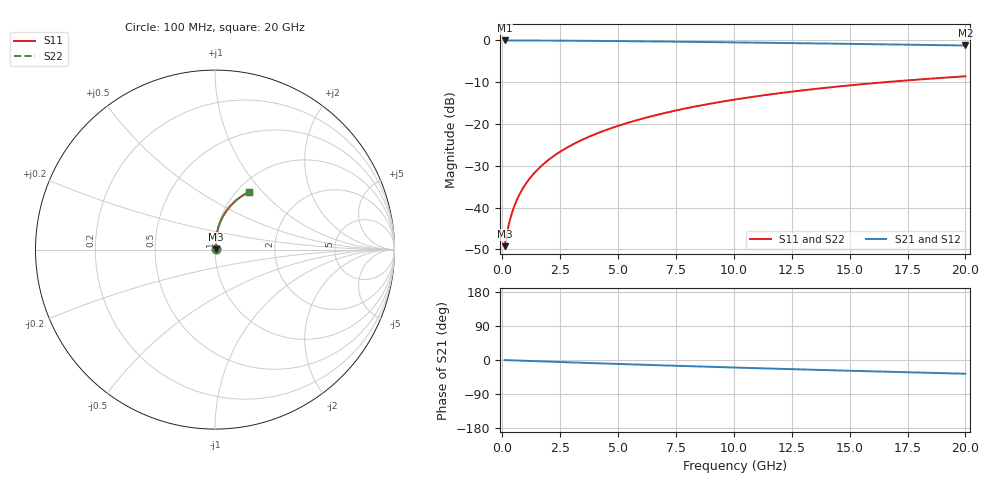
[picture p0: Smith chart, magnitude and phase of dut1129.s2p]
! Touchstone file exported from HFSS 2024.1.0
!  File:  C:/UserFiles/LocalFiles/RDL_TSV_Batchsim/temp_RDL_bottom_1129_1780055196.aedt
!  Generated:  07:49:02 PM May 29, 2026
!  Design:  RDL_bottom
!  Project:  temp_RDL_bottom_1129_1780055196
!  Setup:  Setup1
!  Solution:  Sweep
! Variables:
!  dtsv = 10.80580581um
!  hbump = 3um
!  htsv = 76.99um
!  ldown = 467.09um
!  lrdl = 100um
!  p = 40
!  p1 = 54.9um
!  rhole = 1um
!  t = 450um
!  tdown = 3.07um
!  trdl = 3.915915916um
!  wdown = 20.68um
!  wrdl = 20um
# GHz S MA R 50.000000
! Terminal data exported
! Port[1] = RDL1_T1
! Port[2] = RDL1_T2
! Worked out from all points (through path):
!   200 points, 100 MHz to 20 GHz, reference 50 ohm
!   highest |S21| = -0.02 dB at 100 MHz (marker M1); lowest = -1.2 dB at 20 GHz (marker M2)
!   group delay of S21, straight-line fit = 5.01 ps
!   lowest |S11| = -49.2 dB at 100 MHz (marker M3), VSWR 1.01, Z = 50.3 + j0.2 ohm
!   |S11| at or under -10 dB: start of sweep to 16.55 GHz
!   |S22| runs from -49.2 to -8.6 dB; largest |S21 - S12| = 3.1e-15
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0.1  0.003451 35.2  0.9972 -0.2  0.9972 -0.2  0.003451 35.2
! Gamma 0 0 0 0
! Port Impedance 50 0 50 0
0.2  0.004902 53.5  0.9971 -0.4  0.9971 -0.4  0.004902 53.5
0.3  0.006581 62.5  0.9969 -0.7  0.9969 -0.7  0.006581 62.5
0.4  0.008317 67.7  0.9968 -0.9  0.9968 -0.9  0.008317 67.7
0.5  0.01007 71.1  0.9966 -1.1  0.9966 -1.1  0.01007 71.1
0.6  0.01183 73.5  0.9965 -1.3  0.9965 -1.3  0.01183 73.5
0.8  0.01537 76.8  0.9961 -1.7  0.9961 -1.7  0.01537 76.8
1.1  0.02075 79.7  0.9956 -2.4  0.9956 -2.4  0.02075 79.7
1.3  0.02438 80.9  0.9953 -2.8  0.9953 -2.8  0.02438 80.9
1.6  0.02986 82.1  0.9946 -3.4  0.9946 -3.4  0.02986 82.1
2.1  0.03909 83.3  0.9933 -4.5  0.9933 -4.5  0.03909 83.3
2.7  0.05033 83.9  0.9913 -5.8  0.9913 -5.8  0.05033 83.9
3.5  0.06557 84.0  0.988 -7.4  0.988 -7.4  0.06557 84.0
4.2  0.07913 83.7  0.9846 -8.8  0.9846 -8.8  0.07913 83.7
5  0.09486 83.1  0.9802 -10.4  0.9802 -10.4  0.09485 83.1
5.9  0.1128 82.2  0.9748 -12.2  0.9748 -12.2  0.1128 82.2
6.8  0.1308 81.0  0.969 -14.0  0.969 -14.0  0.1308 81.0
8.4  0.1631 78.7  0.958 -16.9  0.958 -16.9  0.163 78.7
10.1  0.197 76.0  0.9456 -20.0  0.9456 -20.0  0.1969 76.0
13.4  0.2603 70.4  0.9205 -25.7  0.9205 -25.7  0.2602 70.4
16.7  0.3188 64.8  0.8944 -31.1  0.8944 -31.1  0.3187 64.8
20  0.3715 59.5  0.8679 -36.3  0.8679 -36.3  0.3714 59.5
